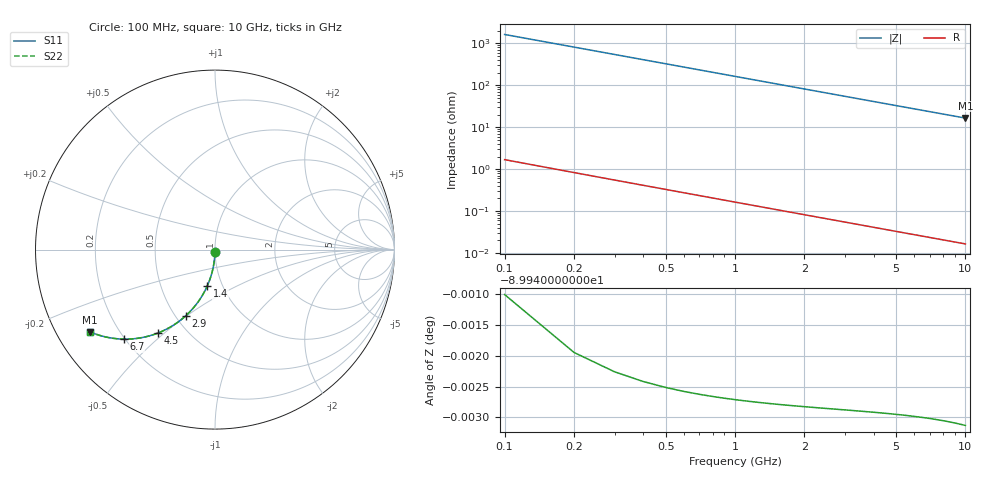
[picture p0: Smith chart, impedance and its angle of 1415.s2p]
# Hz S RI R 50.00
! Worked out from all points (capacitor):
!   100 points, 100 MHz to 10 GHz, reference 50 ohm
!   read as one part in shunt: C = 973 fF near 100 MHz
!   lowest |Z| = 16.5 ohm at 10 GHz (marker M1)
!   S11 on the Smith chart (normalised r, x): 100 MHz: 1.00, -0.03; 1.4 GHz: 0.85, -0.36; 2.9 GHz: 0.56, -0.50; 4.5 GHz: 0.35, -0.48; 6.7 GHz: 0.20, -0.40; 10 GHz: 0.10, -0.30
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1e8  -0.000245 -0.0153  0.9997 -0.0153  0.9997 -0.0153  -0.000245 -0.0153
2e8  -0.00096 -0.0305  0.999 -0.0305  0.999 -0.0305  -0.00096 -0.0305
3e8  -0.00214 -0.0457  0.9979 -0.0458  0.9979 -0.0458  -0.00214 -0.0457
4e8  -0.00378 -0.0608  0.9962 -0.0609  0.9962 -0.0609  -0.00378 -0.0608
5e8  -0.00587 -0.0759  0.9941 -0.076  0.9941 -0.076  -0.00587 -0.0759
6e8  -0.00842 -0.0908  0.9916 -0.0909  0.9916 -0.0909  -0.00842 -0.0908
7e8  -0.0114 -0.1056  0.9886 -0.1058  0.9886 -0.1058  -0.0114 -0.1056
9e8  -0.0187 -0.1348  0.9813 -0.135  0.9813 -0.135  -0.0187 -0.1348
1.1e9  -0.0276 -0.1632  0.9724 -0.1634  0.9724 -0.1634  -0.0276 -0.1632
1.4e9  -0.0439 -0.2042  0.9561 -0.2044  0.9561 -0.2044  -0.0439 -0.2042
1.8e9  -0.0704 -0.2551  0.9296 -0.2555  0.9296 -0.2555  -0.0704 -0.2551
2.3e9  -0.1098 -0.3119  0.8902 -0.3124  0.8902 -0.3124  -0.1098 -0.3119
2.9e9  -0.1637 -0.3692  0.8363 -0.3698  0.8363 -0.3698  -0.1637 -0.3692
3.4e9  -0.2117 -0.4077  0.7883 -0.4084  0.7883 -0.4084  -0.2117 -0.4077
3.9e9  -0.2608 -0.4382  0.7392 -0.439  0.7392 -0.439  -0.2608 -0.4382
4.5e9  -0.3192 -0.4653  0.6807 -0.4661  0.6807 -0.4661  -0.3192 -0.4653
5.1e9  -0.3755 -0.4833  0.6245 -0.4843  0.6245 -0.4843  -0.3755 -0.4833
5.9e9  -0.4454 -0.4959  0.5546 -0.4971  0.5546 -0.4971  -0.4454 -0.4959
6.7e9  -0.5083 -0.4988  0.4917 -0.5001  0.4917 -0.5001  -0.5083 -0.4988
7.5e9  -0.5638 -0.4947  0.4361 -0.4961  0.4361 -0.4961  -0.5638 -0.4947
8.4e9  -0.6181 -0.4845  0.3819 -0.4862  0.3819 -0.4862  -0.6181 -0.4845
1e10  -0.6958 -0.4586  0.3042 -0.4606  0.3042 -0.4606  -0.6958 -0.4586
